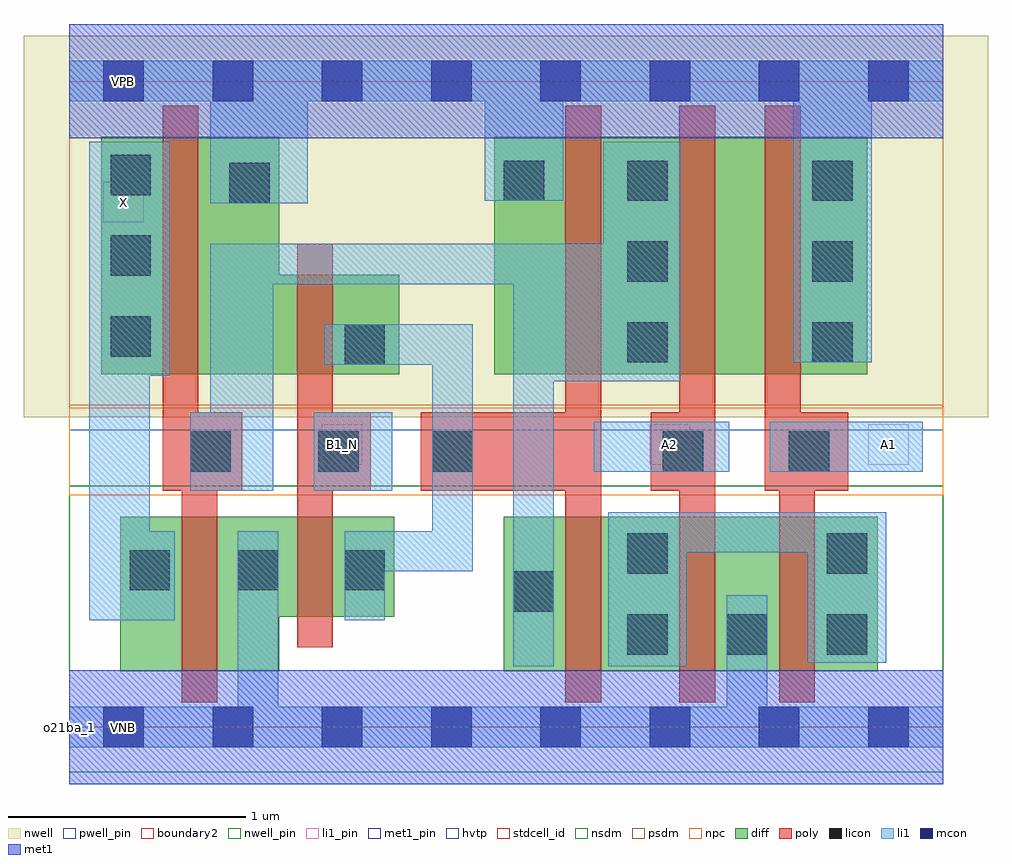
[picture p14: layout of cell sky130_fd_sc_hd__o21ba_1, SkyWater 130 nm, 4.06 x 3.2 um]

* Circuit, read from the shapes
.subckt sky130_fd_sc_hd__o21ba_1 A1 A2 B1_N VGND VNB VPB VPWR X
XM1 VGND n1 X VNB sky130_fd_pr__nfet_01v8 w=0.65 l=0.15
XM2 n2 B1_N VGND VNB sky130_fd_pr__nfet_01v8 w=0.42 l=0.15
XM3 n3 n2 n1 VNB sky130_fd_pr__nfet_01v8 w=0.65 l=0.15
XM4 VGND A2 n3 VNB sky130_fd_pr__nfet_01v8 w=0.65 l=0.15
XM5 n3 A1 VGND VNB sky130_fd_pr__nfet_01v8 w=0.65 l=0.15
XM6 VPWR n1 X VPB sky130_fd_pr__pfet_01v8_hvt w=1 l=0.15
XM7 n2 B1_N VPWR VPB sky130_fd_pr__pfet_01v8_hvt w=0.42 l=0.15
XM8 n1 n2 VPWR VPB sky130_fd_pr__pfet_01v8_hvt w=1 l=0.15
XM9 n4 A2 n1 VPB sky130_fd_pr__pfet_01v8_hvt w=1 l=0.15
XM10 VPWR A1 n4 VPB sky130_fd_pr__pfet_01v8_hvt w=1 l=0.15
.ends

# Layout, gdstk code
import gdstk
lib = gdstk.Library(unit=1e-6, precision=1e-09)
def R(c, l, rs):  # rectangles x0, y0, x1, y1
    for r in rs: c.add(gdstk.rectangle(r[:2], r[2:], *l))
def A(c, l, x, y, w, h, nx, ny, dx, dy):  # array of equal rectangles
    R(c, l, [(x+i*dx, y+j*dy, x+i*dx+w, y+j*dy+h) for i in range(nx) for j in range(ny)])
def P(c, l, *ps):  # polygons
    for p in ps: c.add(gdstk.Polygon(p, *l))
nwell_pin = (64, 16)
nwell = (64, 20)
diff = (65, 20)
poly = (66, 20)
licon = (66, 44)
li1_pin = (67, 16)
li1 = (67, 20)
mcon = (67, 44)
met1_pin = (68, 16)
met1 = (68, 20)
hvtp = (78, 44)
stdcell_id = (81, 4)
nsdm = (93, 44)
psdm = (94, 20)
npc = (95, 20)
pwell_pin = (122, 16)
boundary2 = (236, 0)

sky130_fd_sc_hd__o21ba_1 = lib.new_cell('sky130_fd_sc_hd__o21ba_1')
R(sky130_fd_sc_hd__o21ba_1, nwell_pin, [(0.145,2.635,0.315,2.805)])
R(sky130_fd_sc_hd__o21ba_1, nwell, [(-0.19,1.305,3.87,2.91)])
R(sky130_fd_sc_hd__o21ba_1, diff, [(1.83,0.235,3.405,0.885), (1.79,1.485,3.36,2.485)])
P(sky130_fd_sc_hd__o21ba_1, diff, [(1.37,0.885),(0.215,0.885),(0.215,0.235),(0.885,0.235),(0.885,0.465),(1.37,0.465)],
  [(1.39,1.905),(0.885,1.905),(0.885,2.485),(0.135,2.485),(0.135,1.485),(1.39,1.485)])
R(sky130_fd_sc_hd__o21ba_1, poly, [(0.395,0.995,0.545,2.615)])
P(sky130_fd_sc_hd__o21ba_1, poly, [(0.73,1.325),(0.46,1.325),(0.46,0.995),(0.475,0.995),(0.475,0.105),(0.625,0.105),(0.625,0.995),(0.73,0.995)],
  [(1.27,1.325),(1.11,1.325),(1.11,2.035),(0.96,2.035),(0.96,0.335),(1.11,0.335),(1.11,0.995),(1.27,0.995)],
  [(2.24,2.615),(2.09,2.615),(2.09,1.325),(1.48,1.325),(1.48,0.995),(2.09,0.995),(2.09,0.105),(2.24,0.105)],
  [(2.72,2.615),(2.57,2.615),(2.57,1.325),(2.45,1.325),(2.45,0.995),(2.57,0.995),(2.57,0.105),(2.72,0.105)],
  [(3.28,1.325),(3.08,1.325),(3.08,2.615),(2.93,2.615),(2.93,0.995),(2.99,0.995),(2.99,0.105),(3.14,0.105),(3.14,0.995),(3.28,0.995)])
A(sky130_fd_sc_hd__o21ba_1, licon, 2.35, 0.305, 0.17, 0.17, 3, 1, 0.42, 0)
A(sky130_fd_sc_hd__o21ba_1, licon, 2.35, 1.535, 0.17, 0.17, 1, 3, 0, 0.34)
A(sky130_fd_sc_hd__o21ba_1, licon, 3.13, 1.535, 0.17, 0.17, 1, 3, 0, 0.34)
A(sky130_fd_sc_hd__o21ba_1, licon, 0.175, 1.56, 0.17, 0.17, 1, 3, 0, 0.34)
R(sky130_fd_sc_hd__o21ba_1, licon, [(1.87,0.485,2.04,0.655), (0.255,0.575,0.425,0.745), (0.71,0.575,0.88,0.745), (1.16,0.575,1.33,0.745), (2.35,0.645,2.52,0.815), (3.19,0.645,3.36,0.815), (0.51,1.075,0.68,1.245), (1.05,1.075,1.22,1.245), (1.53,1.075,1.7,1.245), (2.5,1.075,2.67,1.245), (3.03,1.075,3.2,1.245), (1.16,1.525,1.33,1.695), (0.675,2.205,0.845,2.375), (1.83,2.215,2,2.385)])
R(sky130_fd_sc_hd__o21ba_1, li1_pin, [(1.065,1.105,1.235,1.275), (2.445,1.105,2.615,1.275), (3.365,1.105,3.535,1.275), (0.145,2.125,0.315,2.295)])
R(sky130_fd_sc_hd__o21ba_1, li1, [(1.03,0.995,1.36,1.325), (2.21,1.075,2.78,1.285), (2.95,1.075,3.595,1.285)])
P(sky130_fd_sc_hd__o21ba_1, li1, [(0.425,2.465),(0.085,2.465),(0.085,0.45),(0.445,0.45),(0.445,0.825),(0.34,0.825),(0.34,1.48),(0.425,1.48)],
  [(3.68,0.085),(2.94,0.085),(2.94,0.555),(2.77,0.555),(2.77,0.085),(0.88,0.085),(0.88,0.825),(0.71,0.825),(0.71,0.085),(0,0.085),(0,-0.085),(3.68,-0.085)],
  [(3.68,2.805),(0,2.805),(0,2.635),(0.595,2.635),(0.595,2.205),(1.005,2.205),(1.005,2.635),(1.75,2.635),(1.75,2.215),(2.08,2.215),(2.08,2.635),(3.05,2.635),(3.05,1.535),(3.38,1.535),(3.38,2.635),(3.68,2.635)],
  [(1.7,1.695),(1.075,1.695),(1.075,1.525),(1.53,1.525),(1.53,0.825),(1.16,0.825),(1.16,0.45),(1.33,0.45),(1.33,0.655),(1.7,0.655)],
  [(2.575,2.465),(2.25,2.465),(2.25,2.035),(0.595,2.035),(0.595,1.325),(0.51,1.325),(0.51,0.995),(0.86,0.995),(0.86,1.865),(1.87,1.865),(1.87,0.255),(2.04,0.255),(2.04,1.455),(2.575,1.455)],
  [(3.44,0.905),(2.27,0.905),(2.27,0.255),(2.6,0.255),(2.6,0.735),(3.11,0.735),(3.11,0.27),(3.44,0.27)])
A(sky130_fd_sc_hd__o21ba_1, mcon, 0.145, -0.085, 0.17, 0.17, 8, 2, 0.46, 2.72)
R(sky130_fd_sc_hd__o21ba_1, met1_pin, [(0.145,-0.085,0.315,0.085), (0.145,2.635,0.315,2.805)])
R(sky130_fd_sc_hd__o21ba_1, hvtp, [(0,1.25,3.68,2.72)])
R(sky130_fd_sc_hd__o21ba_1, stdcell_id, [(0,0,3.68,2.72)])
R(sky130_fd_sc_hd__o21ba_1, nsdm, [(0,-0.19,3.68,1.015)])
R(sky130_fd_sc_hd__o21ba_1, psdm, [(0,1.355,3.68,2.91)])
R(sky130_fd_sc_hd__o21ba_1, npc, [(0,0.975,3.68,1.345)])
R(sky130_fd_sc_hd__o21ba_1, pwell_pin, [(0.145,-0.085,0.315,0.085)])
R(sky130_fd_sc_hd__o21ba_1, boundary2, [(0,0,3.68,2.72)])
sky130_fd_sc_hd__o21ba_1.add(gdstk.FlexPath([(0,2.72),(3.68,2.72)], 0.48, ends="flush", simple_path=True, layer=68, datatype=20))  # met1
sky130_fd_sc_hd__o21ba_1.add(gdstk.FlexPath([(0,0),(3.68,0)], 0.48, ends="flush", simple_path=True, layer=68, datatype=20))  # met1
sky130_fd_sc_hd__o21ba_1.add(gdstk.Label('B1_N', (1.15,1.19), layer=67, texttype=5))
sky130_fd_sc_hd__o21ba_1.add(gdstk.Label('A1', (3.45,1.19), layer=67, texttype=5))
sky130_fd_sc_hd__o21ba_1.add(gdstk.Label('X', (0.23,2.21), layer=67, texttype=5))
sky130_fd_sc_hd__o21ba_1.add(gdstk.Label('A2', (2.53,1.19), layer=67, texttype=5))
sky130_fd_sc_hd__o21ba_1.add(gdstk.Label('VNB', (0.23,0), layer=64, texttype=59))
sky130_fd_sc_hd__o21ba_1.add(gdstk.Label('VPB', (0.23,2.72), layer=64, texttype=5))
sky130_fd_sc_hd__o21ba_1.add(gdstk.Label('VGND', (0.23,0), layer=68, texttype=5))
sky130_fd_sc_hd__o21ba_1.add(gdstk.Label('VPWR', (0.23,2.72), layer=68, texttype=5))
sky130_fd_sc_hd__o21ba_1.add(gdstk.Label('o21ba_1', (0,0), layer=83, texttype=44))

lib.write_gds('sky130_fd_sc_hd__o21ba_1.gds')
